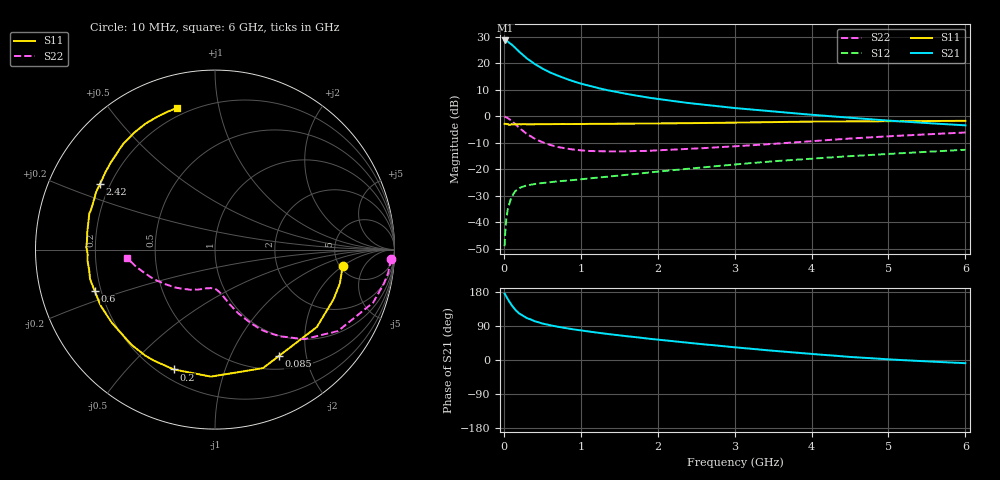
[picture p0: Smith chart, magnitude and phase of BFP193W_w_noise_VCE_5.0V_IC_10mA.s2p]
! Infineon Technologies  Discrete & RF Semiconductors
! BFP193W
! VCE = 5.0 V,  IC =  10 mA
! Common Emitter S-Parameters:  Jan 2016
# GHz  S  MA  R  50
!  f  S11  S21  S12  S22
! GHz  MAG  ANG  MAG  ANG  MAG  ANG  MAG  ANG
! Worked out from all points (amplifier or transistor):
!   210 points, 10 MHz to 6 GHz, reference 50 ohm
!   highest |S21| = 28.6 dB at 20 MHz (marker M1)
!   |S21| within 3 dB of that: start of sweep to 156.1 MHz
!   unconditionally stable (mu >= 1): 1.325 GHz to 4.328 GHz
!   at 185 MHz: K = 0.21, MSG = 26.2 dB, |S12| = -27.5 dB
!   at 1.52 GHz: K = 1.06, MAG = 14.1 dB, |S12| = -22.3 dB
!   at 6 GHz: K = 0.92, MSG = 4.6 dB, |S12| = -12.7 dB
!   lowest NFmin = 1.30 dB at 450 MHz
!   S11 on the Smith chart (normalised r, x): 10 MHz: 5.28, -2.01; 85 MHz: 0.69, -1.55; 200 MHz: 0.26, -0.68; 600 MHz: 0.18, -0.16; 2.42 GHz: 0.16, +0.26; 6 GHz: 0.16, +0.76
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0.01  0.7169 -7.4  26.98 175.1  0.0035 87.1  0.9816 -3.0
0.02  0.7209 -15.2  27.01 172.0  0.0071 80.8  0.9734 -7.7
0.03  0.7163 -22.7  26.71 168.2  0.0105 80.2  0.9599 -11.4
0.05  0.7129 -37.2  25.87 160.7  0.017 73.1  0.9294 -18.5
0.085  0.6912 -58.8  23.51 149.9  0.0257 62.3  0.8478 -28.6
0.1  0.7123 -67.9  22.78 144.7  0.0296 59.7  0.822 -33.5
0.15  0.7081 -91.8  19.51 131.9  0.0386 49.7  0.7036 -45.2
0.2  0.706 -108.9  16.54 122.7  0.0435 43.3  0.6029 -53.2
0.26  0.707 -123.4  13.85 114.9  0.0474 38.2  0.513 -60.2
0.3  0.7055 -131.3  12.34 110.5  0.0492 35.7  0.4607 -63.7
0.4  0.7048 -144.8  9.714 102.3  0.0525 32.6  0.3769 -70.0
0.5  0.7098 -154.0  7.97 96.3  0.0548 31.6  0.3229 -74.3
0.6  0.7088 -161.0  6.728 91.6  0.0569 31.4  0.2869 -77.7
0.8  0.7102 -171.1  5.13 84.1  0.0605 32.8  0.2464 -82.5
1.02  0.7113 -178.7  4.055 77.6  0.0646 35.0  0.2251 -87.3
1.4  0.7188 171.0  2.994 67.5  0.0733 39.0  0.216 -94.4
2.02  0.729 157.5  2.102 53.3  0.0904 43.7  0.2278 -105.6
2.42  0.7373 150.2  1.762 45.0  0.1025 45.2  0.2429 -113.3
3.1  0.7591 138.5  1.386 31.8  0.1259 45.5  0.2754 -126.8
4.1  0.7928 123.7  1.038 14.4  0.1617 42.6  0.3439 -146.9
5.1  0.8078 112.6  0.808 0.7  0.1975 38.2  0.4248 -163.7
6  0.8171 105.0  0.672 -8.4  0.232 33.8  0.4918 -174.6
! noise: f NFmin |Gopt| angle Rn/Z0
0.45  1.3  0.22  143  0.11
0.9  1.3  0.34  160  0.11
1.8  2.05  0.54  -153  0.14
